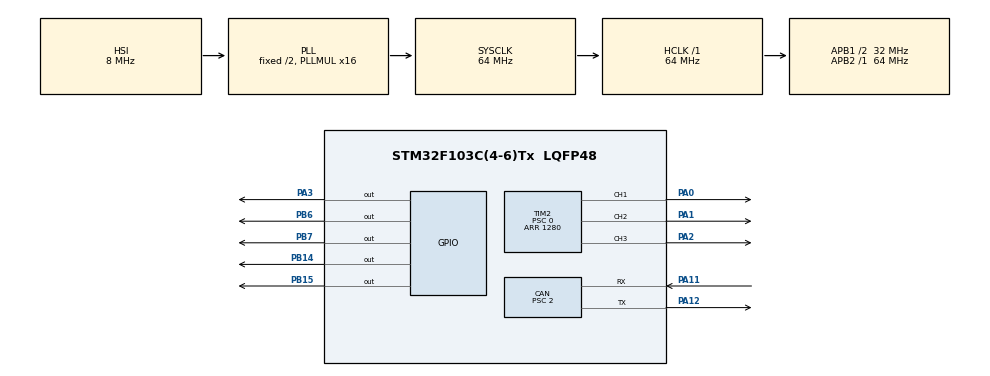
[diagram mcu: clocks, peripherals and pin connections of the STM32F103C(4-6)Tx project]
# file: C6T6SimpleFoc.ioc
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CAN.ABOM=ENABLE
CAN.AWUM=DISABLE
CAN.BS1=CAN_BS1_11TQ
CAN.BS2=CAN_BS2_4TQ
CAN.CalculateTimeQuantum=62.5
CAN.Mode=CAN_MODE_NORMAL
CAN.NART=ENABLE
CAN.Prescaler=2
CAN.RFLM=DISABLE
CAN.SJW=CAN_SJW_1TQ
CAN.TTCM=DISABLE
CAN.TXFP=DISABLE
Mcu.Family=STM32F1
Mcu.Name=STM32F103C(4-6)Tx
Mcu.Package=LQFP48
NVIC.PriorityGroup=NVIC_PRIORITYGROUP_4
NVIC.TIM1_BRK_IRQn=true\:1\:0\:true\:false\:true\:true\:true
NVIC.TIM1_CC_IRQn=true\:1\:0\:true\:false\:true\:true\:true
NVIC.TIM1_TRG_COM_IRQn=true\:1\:0\:true\:false\:true\:true\:true
NVIC.TIM1_UP_IRQn=true\:1\:0\:true\:false\:true\:true\:true
NVIC.TIM3_IRQn=true\:1\:0\:true\:false\:true\:true\:true
NVIC.USB_LP_CAN1_RX0_IRQn=true\:1\:0\:true\:false\:true\:true\:true
PA0-WKUP.Signal=S_TIM2_CH1_ETR
PA1.Signal=S_TIM2_CH2
PA11.Mode=Master
PA11.Signal=CAN_RX
PA12.Mode=Master
PA12.Signal=CAN_TX
PA13.Mode=Serial_Wire
PA13.Signal=SYS_JTMS-SWDIO
PA14.Mode=Serial_Wire
PA14.Signal=SYS_JTCK-SWCLK
PA2.Signal=S_TIM2_CH3
PA3.Signal=GPIO_Output
PB6.GPIO_PuPd=GPIO_PULLUP
PB6.GPIO_Speed=GPIO_SPEED_FREQ_HIGH
PB6.PinState=GPIO_PIN_SET
PB6.Signal=GPIO_Output
PB7.GPIO_ModeDefaultOutputPP=GPIO_MODE_OUTPUT_OD
PB7.GPIO_PuPd=GPIO_PULLUP
PB7.GPIO_Speed=GPIO_SPEED_FREQ_HIGH
PB7.PinState=GPIO_PIN_SET
PB7.Signal=GPIO_Output
PB14.Signal=GPIO_Output
PB15.Signal=GPIO_Output
ProjectManager.HeapSize=0x200
ProjectManager.StackSize=0x400
ProjectManager.TargetToolchain=MDK-ARM V5.27
RCC.AHBFreq_Value=64000000
RCC.APB1CLKDivider=RCC_HCLK_DIV2
RCC.APB1Freq_Value=32000000
RCC.APB1TimFreq_Value=64000000
RCC.APB2Freq_Value=64000000
RCC.APB2TimFreq_Value=64000000
RCC.FLatency=FLASH_LATENCY_2
RCC.HCLKFreq_Value=64000000
RCC.PLLMUL=RCC_PLL_MUL16
RCC.SYSCLKFreq_VALUE=64000000
RCC.SYSCLKSource=RCC_SYSCLKSOURCE_PLLCLK
RCC.USBFreq_Value=64000000
SH.S_TIM2_CH1_ETR.0=TIM2_CH1,PWM Generation1 CH1
SH.S_TIM2_CH2.0=TIM2_CH2,PWM Generation2 CH2
SH.S_TIM2_CH3.0=TIM2_CH3,PWM Generation3 CH3
TIM1.AutoReloadPreload=TIM_AUTORELOAD_PRELOAD_DISABLE
TIM1.ClockDivision=TIM_CLOCKDIVISION_DIV1
TIM1.CounterMode=TIM_COUNTERMODE_UP
TIM1.Period=0
TIM1.Prescaler=64-1
TIM1.TIM_MasterOutputTrigger=TIM_TRGO_RESET
TIM1.TIM_MasterSlaveMode=TIM_MASTERSLAVEMODE_DISABLE
TIM2.AutoReloadPreload=TIM_AUTORELOAD_PRELOAD_DISABLE
TIM2.Channel-PWM\ Generation1\ CH1=TIM_CHANNEL_1
TIM2.Channel-PWM\ Generation2\ CH2=TIM_CHANNEL_2
TIM2.Channel-PWM\ Generation3\ CH3=TIM_CHANNEL_3
TIM2.ClockDivision=TIM_CLOCKDIVISION_DIV1
TIM2.CounterMode=TIM_COUNTERMODE_CENTERALIGNED1
TIM2.OC1Preload_PWM=ENABLE
TIM2.OC2Preload_PWM=ENABLE
TIM2.OC3Preload_PWM=ENABLE
TIM2.OCFastMode_PWM-PWM\ Generation1\ CH1=TIM_OCFAST_DISABLE
TIM2.OCFastMode_PWM-PWM\ Generation2\ CH2=TIM_OCFAST_DISABLE
TIM2.OCFastMode_PWM-PWM\ Generation3\ CH3=TIM_OCFAST_DISABLE
TIM2.OCMode_PWM-PWM\ Generation1\ CH1=TIM_OCMODE_PWM1
TIM2.OCMode_PWM-PWM\ Generation2\ CH2=TIM_OCMODE_PWM1
TIM2.OCMode_PWM-PWM\ Generation3\ CH3=TIM_OCMODE_PWM1
TIM2.OCPolarity_1=TIM_OCPOLARITY_HIGH
TIM2.OCPolarity_2=TIM_OCPOLARITY_HIGH
TIM2.OCPolarity_3=TIM_OCPOLARITY_HIGH
TIM2.Period=1280
TIM2.Prescaler=0
TIM2.Pulse-PWM\ Generation1\ CH1=0
TIM2.Pulse-PWM\ Generation2\ CH2=0
TIM2.Pulse-PWM\ Generation3\ CH3=0
TIM2.TIM_MasterOutputTrigger=TIM_TRGO_RESET
TIM2.TIM_MasterSlaveMode=TIM_MASTERSLAVEMODE_DISABLE
TIM3.Period=100
TIM3.Prescaler=64-1
VP_TIM1_VS_ClockSourceINT.Mode=Internal
VP_TIM2_VS_ClockSourceINT.Mode=Internal
VP_TIM3_VS_ClockSourceINT.Mode=Internal
board=custom

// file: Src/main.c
/* USER CODE BEGIN Header */
/**
  ******************************************************************************
  * @file           : main.c
  * @brief          : Main program body
  ******************************************************************************
  * @attention
  *
  * <h2><center>&copy; Copyright (c) 2023 STMicroelectronics.
  * All rights reserved.</center></h2>
  *
  * This software component is licensed by ST under BSD 3-Clause license,
  * the "License"; You may not use this file except in compliance with the
  * License. You may obtain a copy of the License at:
  *                        opensource.org/licenses/BSD-3-Clause
  *
  ******************************************************************************
  */
/* USER CODE END Header */

#include "main.h"
#include "can.h"
#include "tim.h"
#include "gpio.h"

/* USER CODE BEGIN Includes */
#include <stdio.h>
#include <string.h>
#include "MagneticSensor.h"
#include "FOCMotor.h"
#include "BLDCmotor.h"
#include "FlashStorage.h"
/* USER CODE END Includes */

/* USER CODE BEGIN PTD */

//用于蜂鸣的音符
enum
{
	//不响
	T_None=0,
	//低八度
  T_L1=3822,
  T_L2=3405,
  T_L3=3034,
  T_L4=2863,
  T_L5=2551,
  T_L6=2272,
  T_L7=2052,
	//中八度
  T_M1=1911,
  T_M2=1703,
  T_M3=1517,
  T_M4=1432,
  T_M5=1276,
  T_M6=1136,
  T_M7=1012,
	//高八度
  T_H1=956,
  T_H2=851,
  T_H3=758,
  T_H4=716,
  T_H5=638,
  T_H6=568,
  T_H7=506
};

//卡尔曼滤波结构体
typedef struct{
	float X_last;
	float X_mid;
	float X_now;
	float P_mid;
	float P_now;
	float P_last;
	float kg;
	float A;
	float Q;
	float R;
	float H;
} Kalman;
/* USER CODE END PTD */

/* USER CODE BEGIN PM */
#define VOLT_SUPPLY 12 //供电母线电压
#define MAX_VOLT 6.9f  //限制供电电压(平均值)，最高为VOLT_SUPPLY/√3; 4010电机:6.9V, 2804电机:4V
/* USER CODE END PM */

/* USER CODE BEGIN PV */
volatile float targetVotage = 0; //当前目标电压
volatile int16_t targetVoltageMilli = 0;
uint8_t beepPlaying = 0;   //当前是否在蜂鸣状态
uint8_t motorID = 1;       //初始电机ID
float speed = 0;           //传感器作差数据所得转速
float filteredAngle = 0;   //经滤波得到的转子角度
volatile uint32_t lastRecvTime = 0;
volatile uint8_t canReady = 0; //上次收到CAN数据帧的时间
Kalman angleFilter; //卡尔曼滤波结构体
float openLoopAngle = 0; //开环测试电角度
uint32_t lastDebugPrint = 0;
/* USER CODE END PV */

void SystemClock_Config(void);

/* USER CODE BEGIN 0 */
static void UART1_DebugInit(void)
{
	GPIO_InitTypeDef GPIO_InitStruct = {0};

	__HAL_RCC_GPIOA_CLK_ENABLE();
	__HAL_RCC_USART1_CLK_ENABLE();

	GPIO_InitStruct.Pin = GPIO_PIN_9;
	GPIO_InitStruct.Mode = GPIO_MODE_AF_PP;
	GPIO_InitStruct.Speed = GPIO_SPEED_FREQ_HIGH;
	HAL_GPIO_Init(GPIOA, &GPIO_InitStruct);

	USART1->BRR = (HAL_RCC_GetPCLK2Freq() + 57600U) / 115200U;
	USART1->CR1 = USART_CR1_TE | USART_CR1_UE;
}

int fputc(int ch, FILE *f)
{
	while((USART1->SR & USART_SR_TXE) == 0) {}
	USART1->DR = (uint8_t)ch;
	return ch;
}

//单片机软件复位
void System_Reset(void)
{
	__set_FAULTMASK(1);
	NVIC_SystemReset();
}

/*************卡尔曼滤波*************/

void Kalman_Init(Kalman* p,float T_Q,float T_R)
{
	p->X_last = (float)0;
	p->P_last = 0;
	p->Q = T_Q;
	p->R = T_R;
	p->A = 1;
	p->H = 1;
	p->X_mid = p->X_last;
}

float Kalman_Filter(Kalman* p,float dat)
{
	if(!p) return 0;
	p->X_mid =p->A*p->X_last;                     //x(k|k-1) = AX(k-1|k-1)+BU(k)
	p->P_mid = p->A*p->P_last+p->Q;               //p(k|k-1) = Ap(k-1|k-1)A'+Q
	p->kg = p->P_mid/(p->P_mid+p->R);             //kg(k) = p(k|k-1)H'/(Hp(k|k-1)'+R)
	p->X_now = p->X_mid+p->kg*(dat-p->X_mid);     //x(k|k) = X(k|k-1)+kg(k)(Z(k)-HX(k|k-1))
	p->P_now = (1-p->kg)*p->P_mid;                //p(k|k) = (I-kg(k)H)P(k|k-1)
	p->P_last = p->P_now;
	p->X_last = p->X_now;
	return p->X_now;
}

/*************CAN通信*************/

//CAN外设初始化
void CAN_Init()
{
	CAN_FilterTypeDef filter;
	filter.FilterActivation = ENABLE;
	filter.FilterMode = CAN_FILTERMODE_IDMASK;
	filter.FilterMode = CAN_FILTERMODE_IDMASK;
	filter.FilterScale = CAN_FILTERSCALE_32BIT;
	filter.FilterIdHigh = 0x0000;
	filter.FilterIdLow = 0x0000;
	filter.FilterMaskIdHigh = 0x0000;
	filter.FilterMaskIdLow = 0x0000;
	filter.FilterBank = 0;
	filter.FilterFIFOAssignment = CAN_RX_FIFO0;
	HAL_CAN_ConfigFilter(&hcan, &filter);
	HAL_CAN_Start(&hcan);
	HAL_CAN_ActivateNotification(&hcan, CAN_IT_RX_FIFO0_MSG_PENDING);
	canReady = 1;
}

//发送一个反馈数据帧
void CAN_SendState(float angle, float speed)
{
	CAN_TxHeaderTypeDef header;
	header.StdId = motorID + 0x100;
	header.IDE = CAN_ID_STD;
	header.RTR = CAN_RTR_DATA;
	header.DLC = 8;

	uint8_t data[8] = {0};
	memcpy(data,&(int32_t){angle*1000},4); //角度数据放在前四个字节
	memcpy(&data[4],&(int16_t){speed*10},2); //转速数据放在第5-6字节

	uint32_t mailbox;
	HAL_CAN_AddTxMessage(&hcan, &header, data, &mailbox);
}

//CAN收到数据的中断回调
void HAL_CAN_RxFifo0MsgPendingCallback(CAN_HandleTypeDef *hcan)
{
	CAN_RxHeaderTypeDef header;
	uint8_t rxData[8];

	if(hcan->Instance != CAN1 || HAL_CAN_GetRxMessage(hcan, CAN_RX_FIFO0, &header, rxData) != HAL_OK)
		return;
	if(header.IDE != CAN_ID_STD || header.RTR != CAN_RTR_DATA || header.DLC != 8)
		return;

	uint8_t offset;
	if(header.StdId == 0x100 && motorID <= 4)
		offset = (motorID - 1) * 2;
	else if(header.StdId == 0x200 && motorID > 4 && motorID <= 8)
		offset = (motorID - 5) * 2;
	else
		return;

	targetVoltageMilli = (int16_t)((uint16_t)rxData[offset] | ((uint16_t)rxData[offset + 1] << 8));
	if(targetVoltageMilli > (int16_t)(MAX_VOLT * 1000))
		targetVoltageMilli = (int16_t)(MAX_VOLT * 1000);
	else if(targetVoltageMilli < -(int16_t)(MAX_VOLT * 1000))
		targetVoltageMilli = -(int16_t)(MAX_VOLT * 1000);
	lastRecvTime = HAL_GetTick();
}

/*************FOC*************/

void SimpleFOC_Init()
{
	HAL_TIM_PWM_Start(&htim2,TIM_CHANNEL_1); //开启三个PWM通道输出
	HAL_TIM_PWM_Start(&htim2,TIM_CHANNEL_2);
	HAL_TIM_PWM_Start(&htim2,TIM_CHANNEL_3);

	MagneticSensor_Init(); //初始化磁传感器

	voltage_power_supply=VOLT_SUPPLY; //设定FOC所需参数
	voltage_limit=MAX_VOLT;
	voltage_sensor_align=voltage_limit;
	targetVotage=0;

	Motor_init(); //初始化电机信息
	Motor_initFOC(); //初始化FOC参数

	motorID = Flash_ReadMotorID(); //从Flash读取电机ID
	motorID = motorID ? motorID : 1;
}

/*************蜂鸣*************/

//根据蜂鸣周期配置并触发定时器
void Beep_Play(uint16_t period)
{
	if(period!=0)
	{
		__HAL_TIM_SetAutoreload(&htim1,period/2);
		HAL_TIM_Base_Start_IT(&htim1);
		beepPlaying = 1;
	}
	else
	{
		HAL_TIM_Base_Stop_IT(&htim1);
		beepPlaying = 0;
	}
}

//播放一串音符
void Beep_PlayNotes(uint8_t num, uint16_t notes[][2])
{
	for(uint8_t i=0; i<num; i++)
	{
		Beep_Play(notes[i][0]);
		HAL_Delay(notes[i][1]);
	}
	Beep_Play(0);
}

//蜂鸣中断处理，在定时器中断回调中调用
void Beep_IRQHandler()
{
	static uint8_t flipFlag = 0;
	if(targetVotage == 0)
	{
		setPhaseVoltage(voltage_limit/2, 0, _PI/3 * flipFlag); //使磁场方向在0-PI/3间震荡
		flipFlag = !flipFlag;
	}
}

/*************各个定时任务*************/

//非阻塞LED定时任务，闪烁次数表示电机ID
void Led_Process()
{
	uint32_t period = 1000 + (100+200)*motorID;
	uint32_t mod = HAL_GetTick() % period;
	if(mod < (100+200)*motorID && mod%(100+200) < 100)
		HAL_GPIO_WritePin(GPIOB, GPIO_PIN_15, GPIO_PIN_SET);
	else
		HAL_GPIO_WritePin(GPIOB, GPIO_PIN_15, GPIO_PIN_RESET);
}

//电机转速计算
void Motor_SpeedCalcProcess()
{
	const uint8_t speedLpfLen = 5;
	static float speedLpfBuf[speedLpfLen] = {0}; //存放5个filteredAngle

	float angle = filteredAngle;
	float curSpeed = (angle-speedLpfBuf[0])*1000/speedLpfLen/_2PI*60;
	speed = curSpeed;

	for(uint8_t i=0; i<speedLpfLen-1; i++)
		speedLpfBuf[i] = speedLpfBuf[i+1];
	speedLpfBuf[speedLpfLen-1] = angle;
}

//CAN离线检测，500ms没收到CAN信号则停机
void Motor_OfflineCheckProcess()
{
	static uint8_t isOffline = 0;
	if(HAL_GetTick() - lastRecvTime > 500)
	{
		if(!isOffline)
		{
			targetVoltageMilli = 0;
			isOffline = 1;
		}
	}
	else
		isOffline = 0;
}

//在滴答定时器中调用，1ms周期，处理各定时任务
void SysTick_UserExec()
{
	Led_Process();
	Motor_SpeedCalcProcess();
	Motor_OfflineCheckProcess();
	if(canReady && HAL_GetTick()%2)
		CAN_SendState(shaft_angle, speed);
	filteredAngle = Kalman_Filter(&angleFilter, shaft_angle);
}
/* USER CODE END 0 */

int main(void)
{

  /* MCU Configuration--------------------------------------------------------*/

  /* Reset of all peripherals, Initializes the Flash interface and the Systick. */
  HAL_Init();

  /* Configure the system clock */
  SystemClock_Config();

  /* Initialize all configured peripherals */
  MX_GPIO_Init();
  MX_CAN_Init();
  MX_TIM2_Init();
  MX_TIM1_Init();
  MX_TIM3_Init();
  /* USER CODE BEGIN 2 */

	motorID = 5; // 新腿部电机固定使用ID5
	CAN_Init(); //CAN外设初始化
	UART1_DebugInit();
	HAL_TIM_PWM_Start(&htim2,TIM_CHANNEL_1);
	HAL_TIM_PWM_Start(&htim2,TIM_CHANNEL_2);
	HAL_TIM_PWM_Start(&htim2,TIM_CHANNEL_3);
	voltage_power_supply = VOLT_SUPPLY;
	voltage_limit = MAX_VOLT;
	voltage_sensor_align = 2.0f;
	controller = Type_torque;
	torque_controller = Type_voltage;
	MagneticSensor_Init();
	Motor_init();
	Beep_PlayNotes(3,(uint16_t[][2]){{T_H1,200},{T_H3,200},{T_H5,500}}); //播放开机音效
	Motor_initFOC();

	Kalman_Init(&angleFilter, 0.0005f, 0.2f); //设定卡尔曼滤波系数

  /* USER CODE END 2 */

  /* Infinite loop */
  /* USER CODE BEGIN WHILE */
  while (1)
  {
		targetVotage = targetVoltageMilli / 1000.0f;
		setTargetVotage(targetVotage);
		loopFOC();
		if(HAL_GetTick() - lastDebugPrint >= 100)
		{
			lastDebugPrint = HAL_GetTick();
			printf("%ld\r\n", angle_data);
		}
    /* USER CODE END WHILE */

  }
}

void SystemClock_Config(void)
{
  RCC_OscInitTypeDef RCC_OscInitStruct = {0};
  RCC_ClkInitTypeDef RCC_ClkInitStruct = {0};

  /** Initializes the CPU, AHB and APB busses clocks
  */
  RCC_OscInitStruct.OscillatorType = RCC_OSCILLATORTYPE_HSI;
  RCC_OscInitStruct.HSIState = RCC_HSI_ON;
  RCC_OscInitStruct.HSICalibrationValue = RCC_HSICALIBRATION_DEFAULT;
  RCC_OscInitStruct.PLL.PLLState = RCC_PLL_ON;
  RCC_OscInitStruct.PLL.PLLSource = RCC_PLLSOURCE_HSI_DIV2;
  RCC_OscInitStruct.PLL.PLLMUL = RCC_PLL_MUL16;
  if (HAL_RCC_OscConfig(&RCC_OscInitStruct) != HAL_OK)
  {
    Error_Handler();
  }
  /** Initializes the CPU, AHB and APB busses clocks
  */
  RCC_ClkInitStruct.ClockType = RCC_CLOCKTYPE_HCLK|RCC_CLOCKTYPE_SYSCLK
                              |RCC_CLOCKTYPE_PCLK1|RCC_CLOCKTYPE_PCLK2;
  RCC_ClkInitStruct.SYSCLKSource = RCC_SYSCLKSOURCE_PLLCLK;
  RCC_ClkInitStruct.AHBCLKDivider = RCC_SYSCLK_DIV1;
  RCC_ClkInitStruct.APB1CLKDivider = RCC_HCLK_DIV2;
  RCC_ClkInitStruct.APB2CLKDivider = RCC_HCLK_DIV1;

  if (HAL_RCC_ClockConfig(&RCC_ClkInitStruct, FLASH_LATENCY_2) != HAL_OK)
  {
    Error_Handler();
  }
}

void Error_Handler(void)
{
}

/************************ (C) COPYRIGHT STMicroelectronics *****END OF FILE****/
